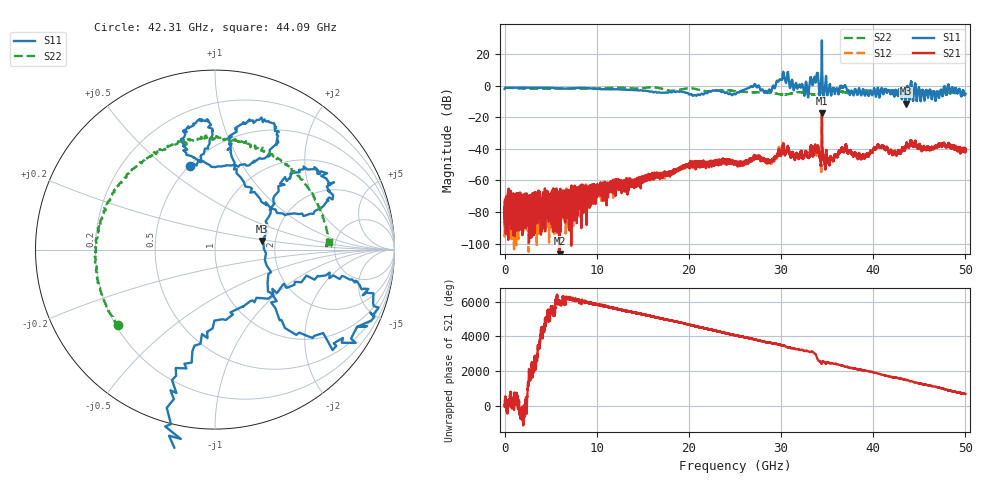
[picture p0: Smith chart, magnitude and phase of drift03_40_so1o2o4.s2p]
!Created with skrf (http://scikit-rf.org).
# Hz S RI R 50.0
!freq ReS11 ImS11 ReS21 ImS21 ReS12 ImS12 ReS22 ImS22
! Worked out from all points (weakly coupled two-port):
!   10000 points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, 5.3 MHz to 50 GHz, reference 50 ohm
!   highest |S21| = -17.27 dB at 34.43 GHz (marker M1); lowest = -106.2 dB at 5.98 GHz (marker M2)
!   lowest |S11| = -11.5 dB at 43.51 GHz (marker M3), VSWR 1.73, Z = 85.2 + j8.73 ohm
!   |S11| at or under -10 dB: 43.49145 GHz to 43.54195 GHz (50.5 MHz wide, 0.116 % of centre)
!   |S22| runs from -5.8 to -1.1 dB; largest |S21 - S12| = 0.036
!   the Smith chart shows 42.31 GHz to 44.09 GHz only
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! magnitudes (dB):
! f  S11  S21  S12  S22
! 5.3 MHz  -2.1  -82.7  -76.1  -1.3
! 5.98 GHz  -1.8  -106.2  -75.0  -2.0
! 8.34 GHz  -1.5  -70.0  -68.3  -2.1
! 16.67 GHz  -4.4  -56.4  -57.1  -1.5
! 20.43 GHz  -6.5  -50.6  -50.3  -1.9
! 25.01 GHz  -5.5  -48.5  -48.1  -3.5
! 27.02 GHz  -0.3  -46.9  -45.5  -4.2
! 28.72 GHz  -2.5  -47.9  -48.0  -4.5
! 30.14 GHz  4.4  -40.3  -40.5  -5.7
! 32.74 GHz  2.0  -42.0  -42.3  -4.6
! 33.34 GHz  2.5  -39.5  -40.0  -5.5
! 33.82 GHz  4.0  -41.7  -42.5  -5.7
! 34.43 GHz  28.5  -17.3  -19.2  -4.6
! 35.3 GHz  0.6  -47.5  -47.0  -3.4
! 36.84 GHz  -0.7  -41.8  -41.2  -4.2
! 38.87 GHz  -2.5  -44.0  -44.1  -3.2
! 40.59 GHz  -3.6  -37.7  -38.1  -4.0
! 41.67 GHz  -3.0  -42.0  -42.4  -3.3
! 43.51 GHz  -11.5  -38.9  -38.8  -4.1
! 46.94 GHz  -4.0  -38.8  -38.8  -4.8
! 48.32 GHz  -4.4  -38.3  -38.7  -4.5
! 50 GHz  -5.2  -40.3  -39.7  -4.5
